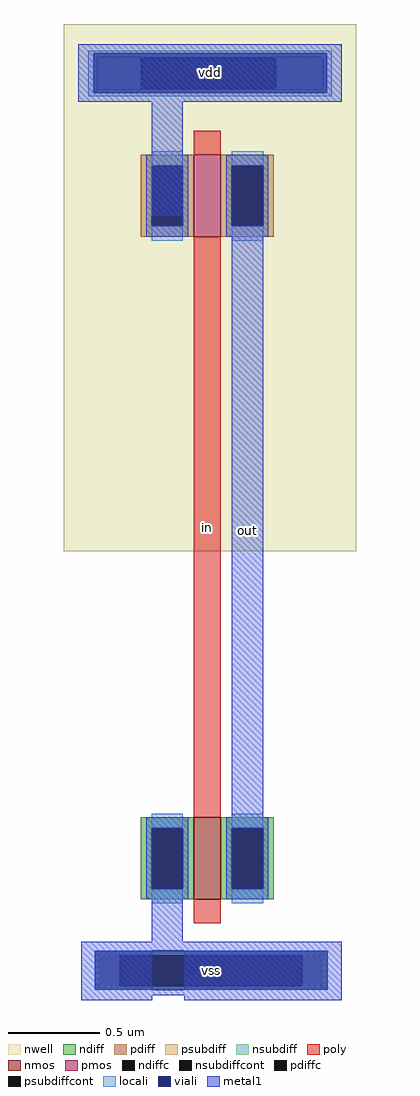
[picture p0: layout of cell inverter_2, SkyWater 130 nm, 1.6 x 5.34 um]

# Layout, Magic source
magic
tech sky130A
magscale 1 2
<< poly >>
rect 142 215 172 806
<< metal1 >>
rect 16 978 304 1041
rect 96 853 130 978
rect 184 186 218 831
rect 96 59 130 110
rect 19 55 304 59
rect 19 51 130 55
rect 19 -5 97 51
rect 132 -5 304 55
use grid  grid_0 ../grid
transform 1 0 61 0 1 10
box -61 -10 259 1053
use sky130_fd_pr__nfet_01v8_SKHSUU  sky130_fd_pr__nfet_01v8_SKHSUU_0
transform 1 0 157 0 1 150
box -73 -71 73 71
use sky130_fd_pr__pfet_01v8_52DS5B  sky130_fd_pr__pfet_01v8_52DS5B_0
transform 1 0 157 0 1 875
box -109 -107 109 107
<< labels >>
rlabel space 19 -5 304 59 1 vss
rlabel metal1 16 978 304 1041 1 vdd
rlabel metal1 184 186 218 831 1 out
rlabel space 142 195 172 830 1 in
<< end >>

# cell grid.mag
magic
tech sky130A
magscale 1 2
<< nwell >>
rect -61 476 259 1053
<< psubdiff >>
rect -24 0 0 34
rect 200 0 224 34
<< nsubdiff >>
rect -25 1016 223 1017
rect -25 982 24 1016
rect 171 982 223 1016
rect -25 981 223 982
<< psubdiffcont >>
rect 0 0 200 34
<< nsubdiffcont >>
rect 24 982 171 1016
<< locali >>
rect -34 1021 232 1024
rect -34 978 -28 1021
rect 227 978 232 1021
rect -34 974 232 978
<< viali >>
rect -28 1016 227 1021
rect -28 982 24 1016
rect 24 982 171 1016
rect 171 982 227 1016
rect -28 978 227 982
rect -27 34 228 39
rect -27 0 0 34
rect 0 0 200 34
rect 200 0 228 34
rect -27 -4 228 0
<< metal1 >>
rect -40 1021 239 1027
rect -40 978 -28 1021
rect 227 978 239 1021
rect -40 972 239 978
rect -39 39 240 45
rect -39 -4 -27 39
rect 228 -4 240 39
rect -39 -10 240 -4
<< end >>

# cell sky130_fd_pr__nfet_01v8_SKHSUU: kit device sky130_fd_pr__nfet_01v8, w 0.450 l 0.150 m 1 nf 1 diffcov 100 polycov 100 guard 0 glc 0 grc 0 gtc 0 gbc 0 tbcov 100 rlcov 100 topc 0 botc 0 poverlap 0 doverlap 1 lmin 0.15 wmin 0.42 compatible {sky130_fd_pr__nfet_01v8 sky130_fd_pr__nfet_01v8_lvt sky130_fd_bs_flash__special_sonosfet_star sky130_fd_pr__nfet_g5v0d10v5 sky130_fd_pr__nfet_05v0_nvt sky130_fd_pr__nfet_03v3_nvt} full_metal 0 viasrc 100 viadrn 100 viagate 100 viagb 0 viagr 0 viagl 0 viagt 0

# cell sky130_fd_pr__pfet_01v8_52DS5B: kit device sky130_fd_pr__pfet_01v8, w 0.45 l 0.15 m 1 nf 1 diffcov 100 polycov 100 guard 0 glc 0 grc 0 gtc 0 gbc 0 tbcov 100 rlcov 100 topc 0 botc 0 poverlap 0 doverlap 1 lmin 0.15 wmin 0.42 compatible {sky130_fd_pr__pfet_01v8 sky130_fd_pr__pfet_01v8_lvt sky130_fd_pr__pfet_01v8_hvt sky130_fd_pr__pfet_g5v0d10v5} full_metal 0 viasrc 100 viadrn 100 viagate 100 viagb 0 viagr 0 viagl 0 viagt 0
